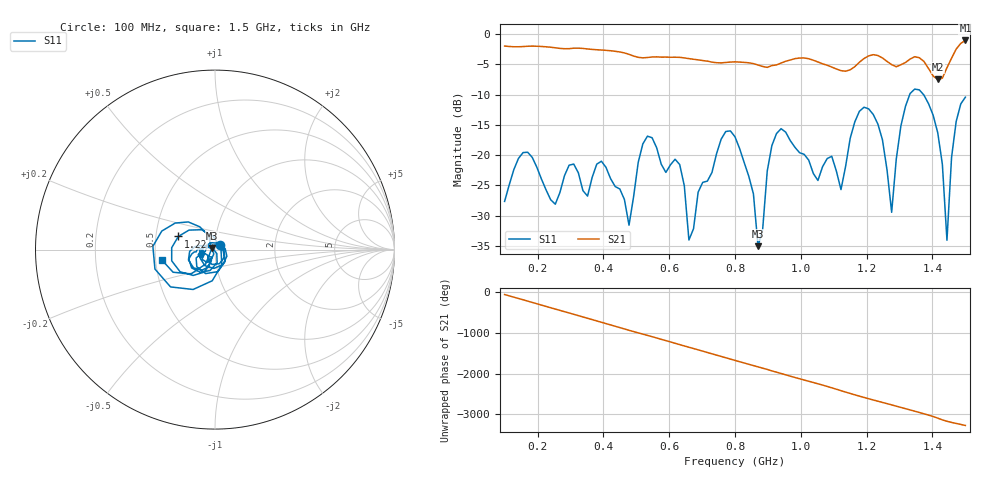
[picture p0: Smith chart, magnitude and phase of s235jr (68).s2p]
! NanoVNA-App
! Date: 2025-09-26 09:45:19
! Start: 100MHz Stop: 1,5GHz Points: 101
! S-Parameter data: F S11 S21 S12 S22
# Hz S RI R 50
!  Frequency  S11_Real  S11_Imag  S21_Real  S21_Imag  S12_Real  S12_Imag  S22_Real  S22_Imag
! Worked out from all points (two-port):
!   101 points, 100 MHz to 1.5 GHz, reference 50 ohm
!   highest |S21| = -1.03 dB at 1.5 GHz (marker M1); lowest = -7.5 dB at 1.416 GHz (marker M2)
!   |S21| within 3 dB of the highest: start of sweep to 659.5 MHz; 1.192 GHz to 1.251 GHz (58.7 MHz wide, 4.81 % of centre) (the widest 2 of 5)
!   lowest |S11| = -35.1 dB at 870 MHz (marker M3), VSWR 1.04, Z = 48.5 + j0.941 ohm
!   |S11| at or under -10 dB: start of sweep to 1.331 GHz; 1.373 GHz to end of sweep
!   S12 and S22 are empty: the file has one direction only
!   S11 on the Smith chart (normalised r, x): 100 MHz: 1.06, +0.06; 1.22 GHz: 0.65, +0.10; 1.5 GHz: 0.54, -0.07
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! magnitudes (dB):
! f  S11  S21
! 100 MHz  -27.6  -2.0
! 156 MHz  -19.6  -2.0
! 338 MHz  -25.9  -2.3
! 394 MHz  -21.0  -2.6
! 478 MHz  -31.6  -3.3
! 520 MHz  -18.1  -3.9
! 576 MHz  -21.5  -3.8
! 632 MHz  -21.6  -3.8
! 660 MHz  -34.0  -4.0
! 800 MHz  -17.0  -4.6
! 870 MHz  -35.1  -5.1
! 926 MHz  -16.4  -5.1
! 1.038 GHz  -23.0  -4.3
! 1.122 GHz  -25.7  -6.0
! 1.164 GHz  -14.5  -5.4
! 1.22 GHz  -13.3  -3.4
! 1.276 GHz  -29.5  -5.0
! 1.332 GHz  -9.8  -4.1
! 1.416 GHz  -16.3  -7.5
! 1.444 GHz  -34.1  -5.5
! 1.472 GHz  -14.4  -2.5
! 1.5 GHz  -10.4  -1.0
